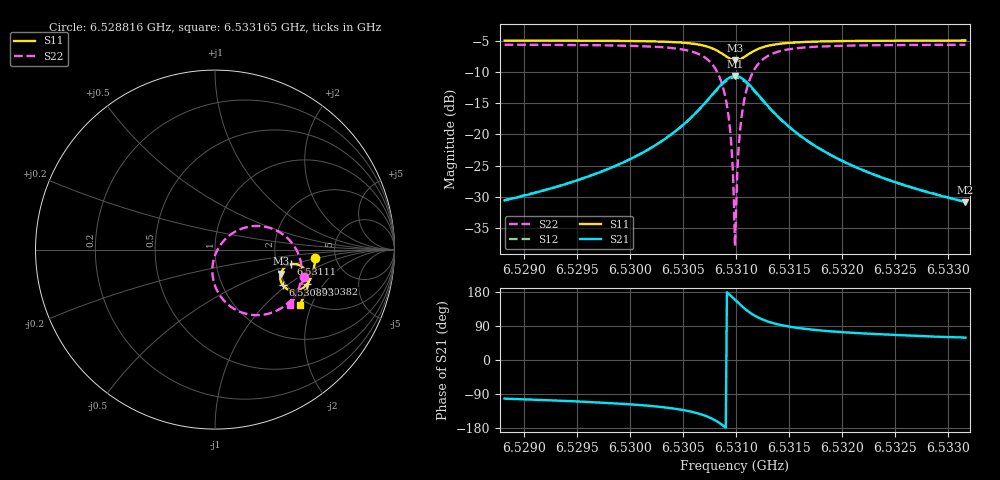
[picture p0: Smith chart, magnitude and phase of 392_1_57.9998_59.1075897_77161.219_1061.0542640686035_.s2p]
#  HZ  S  RI  R  50.00
! Rohde & Schwarz Vector Network Analyzer
! Rohde-Schwarz,ZNB20-2Port,1311601062101988,3.16
! Created: UTC 3/21/2024, 1:07:52 AM
! freq[Hz]  re:S11  im:S11  re:S21  im:S21  re:S12  im:S12  re:S22  im:S22
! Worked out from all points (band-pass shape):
!   401 points, 6.528816 GHz to 6.533165 GHz, reference 50 ohm
!   highest |S21| = -10.68 dB at 6.53099 GHz (marker M1); lowest = -30.8 dB at 6.533165 GHz (marker M2)
!   |S21| within 3 dB of the highest: 6.530775 GHz to 6.531209 GHz (434.3 kHz wide, 0.00665 % of centre)
!   lowest |S11| = -8.2 dB at 6.53099 GHz (marker M3), VSWR 2.28, Z = 101 - j31.9 ohm
!   |S11| at or under -10 dB: nowhere
!   |S22| runs from -37.9 to -5.7 dB; largest |S21 - S12| = 0.011
!   S11 on the Smith chart (normalised r, x): 6.528816 GHz: 3.48, -0.49; 6.530382 GHz: 2.56, -1.40; 6.530893 GHz: 1.92, -0.94; 6.53111 GHz: 2.41, -0.48; 6.533165 GHz: 1.82, -1.65
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6.5288157e9  0.5592 -0.0482  -0.00607 -0.029  -0.00669 -0.0288  0.4982 -0.1512
6.5295442e9  0.5498 -0.1081  -0.0151 -0.0415  -0.0159 -0.0413  0.4693 -0.2176
6.5302728e9  0.5226 -0.1788  -0.0469 -0.0712  -0.0488 -0.07  0.392 -0.3102
6.5303815e9  0.5136 -0.1915  -0.0592 -0.079  -0.0615 -0.0773  0.3657 -0.3283
6.5307295e9  0.4476 -0.2297  -0.1609 -0.0952  -0.1629 -0.0889  0.1737 -0.3577
6.5308273e9  0.4071 -0.2226  -0.2235 -0.0672  -0.2226 -0.0583  0.0675 -0.3016
6.5308926e9  0.3784 -0.1993  -0.2655 -0.0174  -0.2606 -0.00825  0.00379 -0.2113
6.5309361e9  0.366 -0.1731  -0.2815 0.033  -0.2735 0.0406  -0.0149 -0.125
6.5309578e9  0.3635 -0.1575  -0.2823 0.0616  -0.2733 0.0678  -0.012 -0.0775
6.5309687e9  0.3638 -0.1495  -0.2807 0.0761  -0.2712 0.0815  -0.00679 -0.0537
6.5309796e9  0.3647 -0.1414  -0.2776 0.0908  -0.2678 0.0952  0.000529 -0.0303
6.5309904e9  0.3665 -0.1336  -0.273 0.105  -0.263 0.1085  0.0103 -0.00751
6.5310122e9  0.3726 -0.1187  -0.2597 0.1316  -0.2499 0.1336  0.0361 0.0343
6.5310231e9  0.377 -0.1117  -0.2513 0.1439  -0.2416 0.1447  0.0519 0.053
6.5310448e9  0.3873 -0.0999  -0.2317 0.1649  -0.2226 0.1644  0.0877 0.0843
6.5310774e9  0.4057 -0.0873  -0.1976 0.1874  -0.1902 0.1853  0.1474 0.1163
6.53111e9  0.4252 -0.081  -0.1628 0.1992  -0.1569 0.1963  0.2073 0.1302
6.5311862e9  0.4644 -0.0843  -0.0938 0.1969  -0.0908 0.1944  0.3233 0.1145
6.5312949e9  0.4975 -0.1071  -0.0357 0.1668  -0.0342 0.1653  0.4178 0.0495
6.531719e9  0.5194 -0.1835  0.0146 0.0825  0.0153 0.0821  0.4831 -0.1289
6.5324475e9  0.4994 -0.2556  0.0168 0.0394  0.0175 0.0392  0.4558 -0.2447
6.5331652e9  0.4715 -0.3083  0.0148 0.0247  0.0153 0.0245  0.4204 -0.3069
